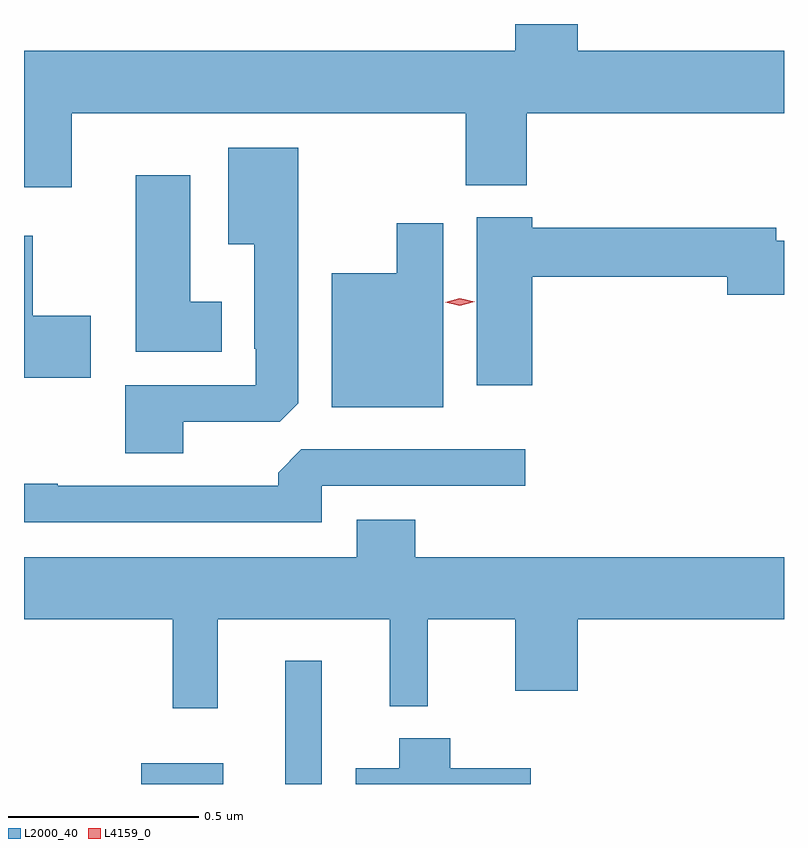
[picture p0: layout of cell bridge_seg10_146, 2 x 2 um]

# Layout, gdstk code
import gdstk
lib = gdstk.Library(unit=1e-6, precision=1e-09)
def R(c, l, rs):  # rectangles x0, y0, x1, y1
    for r in rs: c.add(gdstk.rectangle(r[:2], r[2:], *l))
def P(c, l, *ps):  # polygons
    for p in ps: c.add(gdstk.Polygon(p, *l))
L2000_40 = (2000, 40)
L4159_0 = (4159, 0)

bridge_seg10_146 = lib.new_cell('bridge_seg10_146')
R(bridge_seg10_146, L2000_40, [(331.856,1279.903,332.071,1279.957), (332.234,1279.903,332.331,1280.227)])
P(bridge_seg10_146, L2000_40, [(331.672,1281.668),(332.71,1281.668),(332.71,1281.479),(332.87,1281.479),(332.87,1281.668),(333.547,1281.668),(333.547,1281.832),(333.004,1281.832),(333.004,1281.903),(332.84,1281.903),(332.84,1281.832),(331.547,1281.832),(331.547,1281.474),(331.672,1281.474)],
  [(331.966,1280.856),(332.22,1280.856),(332.269,1280.905),(332.269,1281.577),(332.084,1281.577),(332.084,1281.323),(332.153,1281.323),(332.153,1281.049),(332.157,1281.049),(332.157,1280.952),(331.814,1280.952),(331.814,1280.773),(331.966,1280.773)],
  [(332.068,1281.172),(331.984,1281.172),(331.984,1281.505),(331.841,1281.505),(331.841,1281.041),(332.068,1281.041)],
  [(332.885,1281.238),(333.398,1281.238),(333.398,1281.191),(333.547,1281.191),(333.547,1281.333),(333.526,1281.333),(333.526,1281.367),(332.885,1281.367),(332.885,1281.394),(332.738,1281.394),(332.738,1280.952),(332.885,1280.952)],
  [(332.65,1281.379),(332.528,1281.379),(332.528,1281.247),(332.357,1281.247),(332.357,1280.894),(332.65,1280.894)],
  [(331.723,1281.135),(331.57,1281.135),(331.57,1281.346),(331.547,1281.346),(331.547,1280.972),(331.723,1280.972)],
  [(332.331,1280.688),(332.866,1280.688),(332.866,1280.784),(332.277,1280.784),(332.216,1280.722),(332.216,1280.688),(331.636,1280.688),(331.636,1280.693),(331.547,1280.693),(331.547,1280.592),(332.331,1280.592)],
  [(332.057,1280.336),(332.51,1280.336),(332.51,1280.108),(332.61,1280.108),(332.61,1280.336),(332.84,1280.336),(332.84,1280.148),(333.004,1280.148),(333.004,1280.336),(333.547,1280.336),(333.547,1280.5),(332.576,1280.5),(332.576,1280.599),(332.423,1280.599),(332.423,1280.5),(331.547,1280.5),(331.547,1280.336),(331.939,1280.336),(331.939,1280.103),(332.057,1280.103)],
  [(332.881,1279.945),(332.669,1279.945),(332.669,1280.023),(332.534,1280.023),(332.534,1279.945),(332.42,1279.945),(332.42,1279.903),(332.881,1279.903)])
P(bridge_seg10_146, L4159_0, [(332.694,1281.161),(332.656,1281.171),(332.656,1281.171),(332.656,1281.171),(332.694,1281.181),(332.733,1281.172),(332.733,1281.172),(332.733,1281.172)])

lib.write_gds('bridge_seg10_146.gds')
